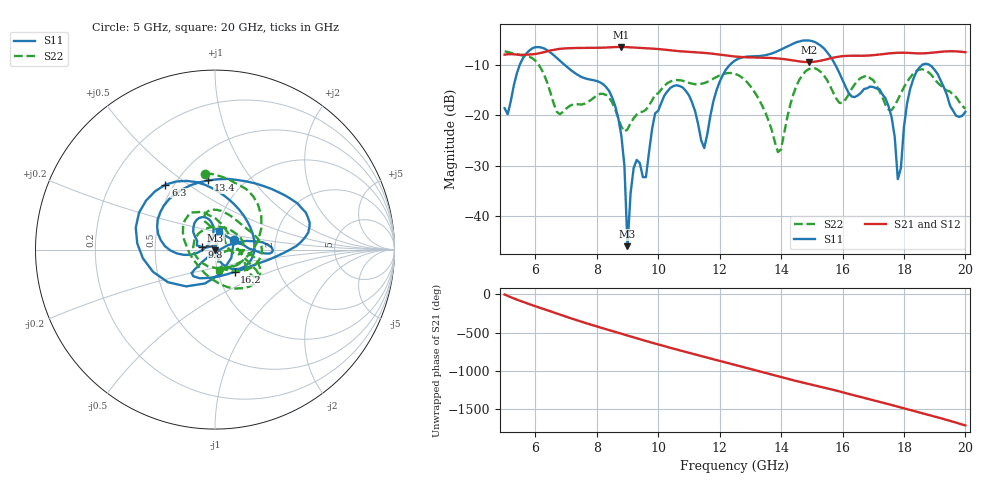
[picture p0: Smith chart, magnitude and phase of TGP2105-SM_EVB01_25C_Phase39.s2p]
! Date: Wednesday, June 05, 2013  1:51 PM
! Filename: C:\Data\Mike_Arnold\TGP2105-SM\Over_Temp\TGP2105-SM_EVB01_25C_Phase39.s2p
! Comments:
!^VDC(V):5.000
!^VDC(mA):0.094
!%Freq(GHz),S11(dB),S11(ang),S21(dB),S21(ang),S12(dB),S12(ang),S22(dB),S22(ang)
# GHz  S  DB  R  50
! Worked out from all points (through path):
!   151 points, 5 GHz to 20 GHz, reference 50 ohm
!   highest |S21| = -6.50 dB at 8.8 GHz (marker M1); lowest = -9.5 dB at 14.9 GHz (marker M2)
!   lowest |S11| = -45.9 dB at 9 GHz (marker M3), VSWR 1.01, Z = 50.3 - j0.435 ohm
!   |S11| at or under -10 dB: 6.943 GHz to 12.34 GHz (5.401 GHz wide, 56 % of centre); 15.76 GHz to 18.61 GHz (2.848 GHz wide, 16.6 % of centre); 18.81 GHz to end of sweep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
!   |S22| runs from -27.3 to -7.4 dB; largest |S21 - S12| = 0.0021
!   S11 on the Smith chart (normalised r, x): 5 GHz: 1.23, +0.13; 6.3 GHz: 0.45, +0.41; 9.8 GHz: 0.87, +0.02; 13.4 GHz: 0.69, +0.63; 16.2 GHz: 1.20, -0.31; 20 GHz: 1.02, +0.22
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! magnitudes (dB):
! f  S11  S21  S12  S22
! 5 GHz  -18.6  -8.0  -8.0  -7.4
! 6.3 GHz  -6.8  -7.5  -7.5  -12.2
! 7.5 GHz  -12.5  -6.7  -6.7  -17.9
! 8.8 GHz  -24.0  -6.5  -6.5  -22.3
! 9 GHz  -45.9  -6.5  -6.6  -22.8
! 9.2 GHz  -30.5  -6.6  -6.6  -20.6
! 9.6 GHz  -32.3  -6.7  -6.8  -18.9
! 9.8 GHz  -22.8  -6.8  -6.9  -17.1
! 10 GHz  -19.1  -6.9  -7.0  -15.7
! 10.8 GHz  -14.5  -7.4  -7.4  -13.2
! 11.5 GHz  -26.5  -7.7  -7.7  -13.7
! 12.5 GHz  -9.2  -8.4  -8.4  -11.8
! 13.4 GHz  -8.2  -8.6  -8.7  -18.3
! 13.9 GHz  -7.3  -8.8  -8.8  -27.3
! 14.9 GHz  -5.2  -9.5  -9.5  -10.9
! 15 GHz  -5.3  -9.5  -9.5  -10.7
! 16.2 GHz  -15.6  -8.3  -8.3  -15.9
! 17.5 GHz  -18.3  -7.8  -7.8  -18.9
! 17.8 GHz  -32.7  -7.7  -7.7  -17.0
! 18.1 GHz  -17.7  -7.7  -7.7  -13.4
! 18.5 GHz  -10.6  -7.8  -7.8  -11.0
! 20 GHz  -19.3  -7.6  -7.6  -18.7
